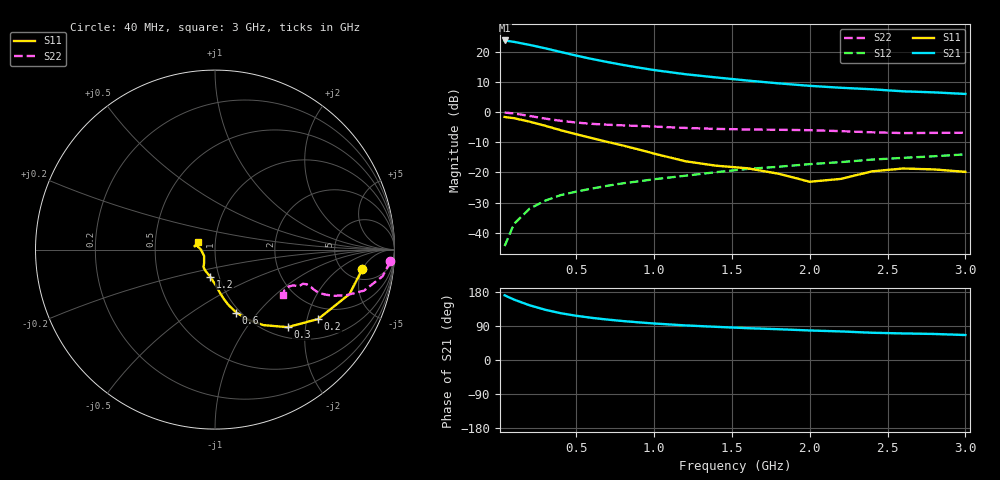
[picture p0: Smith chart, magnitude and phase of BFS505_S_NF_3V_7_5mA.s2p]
! Filename:  BFS505F.S2P  Version:  4.0
! Philips part #: BFS505  Date: Jun 1994
! Bias condition: Vce=3V, Ic=7.5mA
#  MHz  S  MA  R  50
! Freq  S11  S21  S12  S22  !GUM [dB]
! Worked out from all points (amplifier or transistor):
!   21 points, 40 MHz to 3 GHz, reference 50 ohm
!   highest |S21| = 23.7 dB at 40 MHz (marker M1)
!   |S21| within 3 dB of that: start of sweep to 333.9 MHz
!   unconditionally stable (mu >= 1): 941 MHz to end of sweep
!   at 300 MHz: K = 0.55, MSG = 25.2 dB, |S12| = -29.4 dB
!   at 1 GHz: K = 1.02, MAG = 17.1 dB, |S12| = -22.3 dB
!   at 3 GHz: K = 1.14, MAG = 7.7 dB, |S12| = -14.0 dB
!   S11 on the Smith chart (normalised r, x): 40 MHz: 7.19, -4.94; 200 MHz: 1.58, -2.34; 300 MHz: 1.20, -1.60; 600 MHz: 0.96, -0.78; 1.2 GHz: 0.91, -0.28; 3 GHz: 0.83, +0.07
40  0.828 -7.5  15.31 170.7  0.006 84.7  0.979 -3.8
100  0.79 -18.2  14.5 159.5  0.014 78.8  0.946 -9.0
200  0.693 -33.9  12.93 144.4  0.025 71.9  0.861 -15.4
300  0.592 -46.9  11.37 132.7  0.034 67.8  0.778 -19.0
400  0.5 -57.3  9.871 123.5  0.042 66.5  0.715 -21.1
500  0.428 -65.2  8.598 116.7  0.048 65.9  0.669 -22.1
600  0.37 -71.3  7.566 111.2  0.054 66.5  0.637 -22.5
700  0.32 -76.1  6.726 106.7  0.06 67.4  0.616 -22.5
800  0.279 -79.9  6.02 102.8  0.066 68.2  0.601 -22.2
900  0.24 -83.7  5.446 99.4  0.071 68.5  0.587 -21.8
1000  0.205 -87.8  4.954 96.3  0.077 69.1  0.574 -21.3
1200  0.153 -100.2  4.229 91.3  0.088 69.8  0.545 -20.7
1400  0.129 -114.7  3.733 87.5  0.101 71.0  0.525 -21.3
1600  0.117 -123.3  3.318 84.0  0.114 71.3  0.514 -23.0
1800  0.095 -129.6  2.982 81.2  0.124 72.0  0.508 -23.8
2000  0.07 -150.3  2.713 77.9  0.137 72.1  0.5 -23.9
2200  0.078 179.9  2.521 75.4  0.148 72.3  0.482 -24.4
2400  0.104 167.8  2.379 71.9  0.163 72.2  0.461 -26.4
2600  0.116 170.6  2.201 70.1  0.174 71.8  0.448 -30.0
2800  0.112 169.7  2.114 68.7  0.185 72.7  0.451 -32.6
3000  0.102 156.4  1.991 65.9  0.199 72.5  0.454 -33.9
